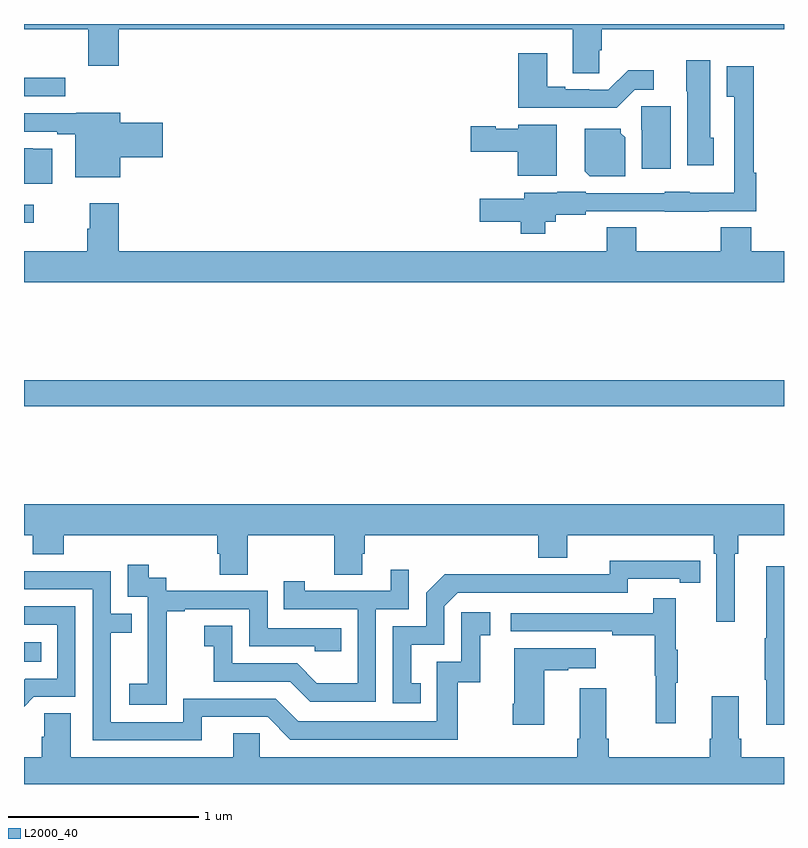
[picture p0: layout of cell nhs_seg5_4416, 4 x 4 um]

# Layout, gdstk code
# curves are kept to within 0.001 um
import gdstk
lib = gdstk.Library(unit=1e-6, precision=1e-09)
def R(c, l, rs):  # rectangles x0, y0, x1, y1
    for r in rs: c.add(gdstk.rectangle(r[:2], r[2:], *l))
def P(c, l, *ps):  # polygons
    for p in ps: c.add(gdstk.Polygon(p, *l))
L2000_40 = (2000, 40)

nhs_seg5_4416 = lib.new_cell('nhs_seg5_4416')
R(nhs_seg5_4416, L2000_40, [(371,841.442,371.09,841.546), (371,842.788,375,842.924), (371,843.752,371.05,843.849), (371,844.419,371.218,844.516)])
P(nhs_seg5_4416, L2000_40, [(374.028,844.662),(374.042,844.662),(374.042,844.772),(375,844.772),(375,844.799),(371,844.799),(371,844.772),(371.338,844.772),(371.338,844.578),(371.498,844.578),(371.498,844.772),(373.889,844.772),(373.889,844.54),(374.028,844.54)],
  [(374.214,844.452),(374.314,844.452),(374.314,844.555),(374.179,844.555),(374.076,844.452),(373.976,844.452),(373.976,844.455),(373.849,844.455),(373.849,844.468),(373.753,844.468),(373.753,844.645),(373.601,844.645),(373.601,844.358),(374.12,844.358)],
  [(374.629,844.2),(374.611,844.2),(374.611,844.609),(374.486,844.609),(374.486,844.446),(374.492,844.446),(374.492,844.056),(374.629,844.056)],
  [(373.744,843.758),(373.799,843.758),(373.799,843.794),(373.956,843.794),(373.956,843.813),(374.373,843.813),(374.373,843.812),(374.605,843.812),(374.605,843.813),(374.855,843.813),(374.855,844.016),(374.84,844.016),(374.84,844.576),(374.699,844.576),(374.699,844.415),(374.739,844.415),(374.739,843.91),(374.505,843.91),(374.505,843.916),(374.373,843.916),(374.373,843.909),(373.956,843.909),(373.956,843.916),(373.806,843.916),(373.806,843.91),(373.634,843.91),(373.634,843.88),(373.398,843.88),(373.398,843.758),(373.615,843.758),(373.615,843.695),(373.744,843.695)],
  [(374.404,844.365),(374.248,844.365),(374.248,844.242),(374.252,844.242),(374.252,844.038),(374.404,844.038)],
  [(371.506,844.097),(371.731,844.097),(371.731,844.28),(371.506,844.28),(371.506,844.332),(371.274,844.332),(371.274,844.329),(371,844.329),(371,844.233),(371.174,844.233),(371.174,844.22),(371.27,844.22),(371.27,843.992),(371.506,843.992)],
  [(373.804,844.27),(373.602,844.27),(373.602,844.249),(373.482,844.249),(373.482,844.262),(373.35,844.262),(373.35,844.127),(373.598,844.127),(373.598,844.001),(373.804,844.001)],
  [(374.164,844.202),(374.142,844.224),(374.142,844.249),(373.952,844.249),(373.952,844.024),(373.978,843.998),(374.164,843.998)],
  [(371.148,844.143),(371.045,844.143),(371.045,844.144),(371,844.144),(371,843.959),(371.148,843.959)],
  [(375,843.604),(374.828,843.604),(374.828,843.728),(374.668,843.728),(374.668,843.604),(374.223,843.604),(374.223,843.728),(374.068,843.728),(374.068,843.604),(371.498,843.604),(371.498,843.856),(371.345,843.856),(371.345,843.722),(371.333,843.722),(371.333,843.604),(371,843.604),(371,843.44),(375,843.44)],
  [(374.74,842.012),(374.759,842.012),(374.759,842.108),(375,842.108),(375,842.272),(371,842.272),(371,842.108),(371.045,842.108),(371.045,842.009),(371.21,842.009),(371.21,842.108),(372.017,842.108),(372.017,842.01),(372.029,842.01),(372.029,841.9),(372.177,841.9),(372.177,842.108),(372.634,842.108),(372.634,841.9),(372.781,841.9),(372.781,842.01),(372.794,842.01),(372.794,842.108),(373.706,842.108),(373.706,841.991),(373.858,841.991),(373.858,842.108),(374.63,842.108),(374.63,842.012),(374.643,842.012),(374.643,841.653),(374.74,841.653)],
  [(373.088,841.329),(373.039,841.329),(373.039,841.533),(373.212,841.533),(373.212,841.734),(373.284,841.806),(374.178,841.806),(374.178,841.878),(374.45,841.878),(374.45,841.858),(374.558,841.858),(374.558,841.974),(374.082,841.975),(374.082,841.902),(373.622,841.902),(373.622,841.904),(373.214,841.904),(373.116,841.806),(373.116,841.629),(372.942,841.629),(372.942,841.224),(373.088,841.224)],
  [(371.751,841.423),(371.75,841.423),(371.75,841.707),(371.845,841.707),(371.845,841.719),(372.186,841.719),(372.186,841.524),(372.531,841.524),(372.531,841.497),(372.671,841.497),(372.671,841.62),(372.282,841.62),(372.282,841.815),(371.748,841.815),(371.748,841.884),(371.656,841.884),(371.656,841.954),(371.547,841.954),(371.547,841.785),(371.652,841.785),(371.652,841.556),(371.651,841.556),(371.651,841.327),(371.553,841.327),(371.553,841.217),(371.751,841.217)],
  [(375,841.945),(374.906,841.945),(374.906,841.565),(374.899,841.565),(374.899,841.348),(374.906,841.348),(374.906,841.11),(375,841.11)],
  [(372.852,841.719),(373.026,841.719),(373.026,841.927),(372.929,841.927),(372.929,841.815),(372.478,841.815),(372.478,841.867),(372.367,841.867),(372.367,841.719),(372.756,841.719),(372.756,841.33),(372.542,841.33),(372.438,841.434),(372.096,841.434),(372.096,841.633),(371.949,841.633),(371.949,841.523),(371.998,841.523),(371.998,841.338),(372.401,841.338),(372.506,841.233),(372.852,841.233)],
  [(371.935,841.152),(372.282,841.152),(372.402,841.032),(373.282,841.032),(373.282,841.335),(373.4,841.335),(373.4,841.581),(373.453,841.581),(373.453,841.702),(373.302,841.702),(373.302,841.443),(373.173,841.443),(373.173,841.128),(372.444,841.128),(372.324,841.248),(371.838,841.248),(371.838,841.125),(371.457,841.125),(371.457,841.594),(371.567,841.594),(371.567,841.695),(371.457,841.695),(371.457,841.92),(371,841.92),(371,841.824),(371.361,841.824),(371.361,841.029),(371.935,841.029)],
  [(374.429,841.331),(374.44,841.331),(374.44,841.505),(374.429,841.505),(374.429,841.777),(374.311,841.777),(374.311,841.698),(373.563,841.698),(373.563,841.602),(374.095,841.602),(374.095,841.582),(374.319,841.582),(374.319,841.368),(374.326,841.368),(374.326,841.119),(374.429,841.119)],
  [(371.052,841.257),(371.271,841.257),(371.271,841.734),(371,841.734),(371,841.638),(371.175,841.638),(371.175,841.353),(371.006,841.353),(371,841.347),(371,841.205)],
  [(373.738,841.399),(373.865,841.399),(373.865,841.409),(374.008,841.409),(374.008,841.513),(373.58,841.513),(373.58,841.222),(373.573,841.222),(373.573,841.11),(373.738,841.11)],
  [(372.24,841.067),(372.101,841.067),(372.101,840.94),(371.245,840.94),(371.245,841.172),(371.106,841.172),(371.106,841.049),(371.093,841.049),(371.093,840.94),(371,840.94),(371,840.799),(375,840.799),(375,840.94),(374.774,840.94),(374.774,841.036),(374.761,841.036),(374.761,841.261),(374.621,841.261),(374.621,841.036),(374.609,841.036),(374.609,840.94),(374.078,840.94),(374.078,841.036),(374.065,841.036),(374.065,841.303),(373.925,841.303),(373.925,841.036),(373.913,841.036),(373.913,840.94),(372.24,840.94)])

lib.write_gds('nhs_seg5_4416.gds')
